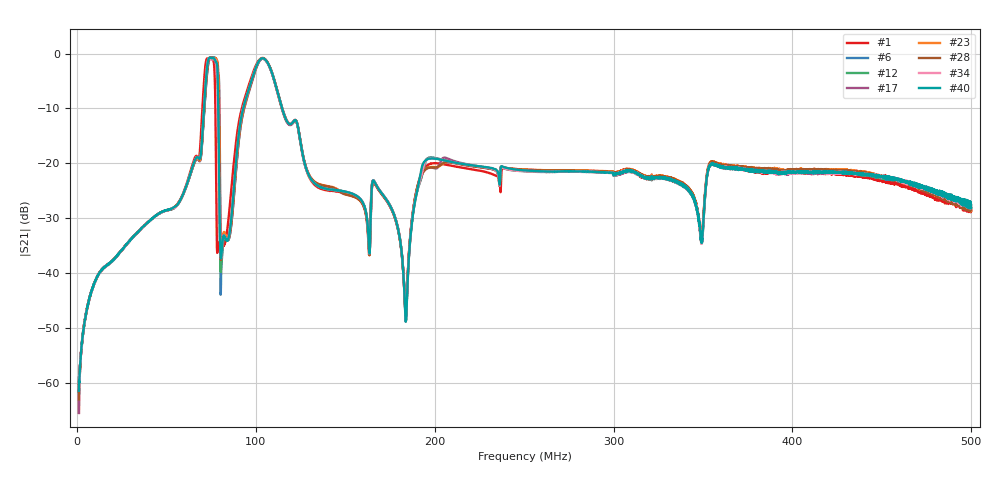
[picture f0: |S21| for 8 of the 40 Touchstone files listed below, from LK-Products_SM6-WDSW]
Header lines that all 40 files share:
! NanoVNA-App
! Start: 1MHz Stop: 500MHz Points: 6401
! S-Parameter data: F S11 S21 S12 S22
# Hz S RI R 50
!  Frequency  S11_Real  S11_Imag  S21_Real  S21_Imag  S12_Real  S12_Imag  S22_Real  S22_Imag
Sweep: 1 MHz to 500 MHz
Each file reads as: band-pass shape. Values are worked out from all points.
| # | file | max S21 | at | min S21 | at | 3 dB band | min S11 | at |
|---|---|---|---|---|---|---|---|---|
| 1 | 4MOrgTX_0.s2p | -0.87 dB | 75.3 MHz | -65.5 dB | 1 MHz | 97.99 MHz-109.2 MHz | -36.2 dB | 103.6 MHz |
| 2 | 4MOrgTX_1.s2p | -0.80 dB | 81.39 MHz | -55.5 dB | 178 MHz | 43.1 MHz-68.91 MHz | -21.8 dB | 77.25 MHz |
| 3 | 4MRX_0_0_0.s2p | -0.65 dB | 76.94 MHz | -63.2 dB | 1 MHz | 99.32 MHz-109.2 MHz | -33.1 dB | 81.7 MHz |
| 4 | 4MRX_0_6_6.s2p | -0.67 dB | 74.76 MHz | -61.7 dB | 1.078 MHz | 99.01 MHz-109.1 MHz | -57.3 dB | 77.25 MHz |
| 5 | 4MRX_1_1_1.s2p | -0.66 dB | 76.86 MHz | -62.3 dB | 1 MHz | 99.32 MHz-109.2 MHz | -32.5 dB | 79.05 MHz |
| 6 | 4MRX_1_6_6.s2p | -0.67 dB | 74.76 MHz | -62.0 dB | 1 MHz | 99.01 MHz-109.1 MHz | -42.9 dB | 77.18 MHz |
| 7 | 4MRX_2_2_2.s2p | -0.68 dB | 76.79 MHz | -60.5 dB | 1 MHz | 99.24 MHz-109.2 MHz | -30.3 dB | 79.05 MHz |
| 8 | 4MRX_2_6_6.s2p | -0.68 dB | 74.76 MHz | -62.5 dB | 1 MHz | 98.93 MHz-109.1 MHz | -34.2 dB | 77.1 MHz |
| 9 | 4MRX_3_3_3.s2p | -0.69 dB | 76.86 MHz | -60.8 dB | 1 MHz | 99.24 MHz-109.2 MHz | -25.7 dB | 78.97 MHz |
| 10 | 4MRX_3_6_6.s2p | -0.69 dB | 74.68 MHz | -63.6 dB | 1 MHz | 98.93 MHz-109.1 MHz | -28.0 dB | 77.02 MHz |
| 11 | 4MRX_4_4_4.s2p | -0.71 dB | 76.71 MHz | -60.9 dB | 1.156 MHz | 99.08 MHz-109.2 MHz | -22.2 dB | 78.89 MHz |
| 12 | 4MRX_4_6_6.s2p | -0.72 dB | 74.6 MHz | -61.7 dB | 1 MHz | 98.85 MHz-109.1 MHz | -22.9 dB | 76.94 MHz |
| 13 | 4MRX_5_5_5.s2p | -0.74 dB | 76.55 MHz | -61.2 dB | 1 MHz | 99.01 MHz-109.2 MHz | -20.8 dB | 104 MHz |
| 14 | 4MRX_5_6_6.s2p | -0.75 dB | 74.45 MHz | -59.8 dB | 1.234 MHz | 98.85 MHz-109.1 MHz | -21.5 dB | 78.34 MHz |
| 15 | 4MRX_6_0_6.s2p | -0.89 dB | 74.91 MHz | -62.7 dB | 1 MHz | 98.93 MHz-109.3 MHz | -21.6 dB | 104.1 MHz |
| 16 | 4MRX_6_1_6.s2p | -0.89 dB | 74.91 MHz | -60.8 dB | 1.078 MHz | 98.93 MHz-109.3 MHz | -21.6 dB | 104 MHz |
| 17 | 4MRX_6_2_6.s2p | -0.88 dB | 74.91 MHz | -65.5 dB | 1 MHz | 98.93 MHz-109.3 MHz | -21.6 dB | 104 MHz |
| 18 | 4MRX_6_3_6.s2p | -0.87 dB | 74.76 MHz | -60.2 dB | 1.156 MHz | 98.93 MHz-109.2 MHz | -21.5 dB | 104 MHz |
| 19 | 4MRX_6_4_6.s2p | -0.85 dB | 74.6 MHz | -62.2 dB | 1 MHz | 98.85 MHz-109.2 MHz | -21.4 dB | 104 MHz |
| 20 | 4MRX_6_5_6.s2p | -0.83 dB | 74.45 MHz | -62.2 dB | 1 MHz | 98.77 MHz-109.2 MHz | -27.8 dB | 79.59 MHz |
| 21 | 4MRX_6_6_0.s2p | -0.76 dB | 103.7 MHz | -62.0 dB | 1 MHz | 98.85 MHz-109.3 MHz | -28.3 dB | 79.59 MHz |
| 22 | 4MRX_6_6_1.s2p | -0.78 dB | 103.7 MHz | -62.1 dB | 1 MHz | 98.85 MHz-109.3 MHz | -28.3 dB | 79.59 MHz |
| 23 | 4MRX_6_6_2.s2p | -0.79 dB | 103.7 MHz | -60.9 dB | 1.156 MHz | 98.77 MHz-109.3 MHz | -28.3 dB | 79.59 MHz |
| 24 | 4MRX_6_6_3.s2p | -0.81 dB | 103.7 MHz | -60.9 dB | 1 MHz | 98.77 MHz-109.3 MHz | -28.0 dB | 79.59 MHz |
| 25 | 4MRX_6_6_4.s2p | -0.82 dB | 76.94 MHz | -62.0 dB | 1 MHz | 98.77 MHz-109.3 MHz | -27.5 dB | 79.59 MHz |
| 26 | 4MRX_6_6_5.s2p | -0.82 dB | 76.79 MHz | -59.6 dB | 1.156 MHz | 98.77 MHz-109.3 MHz | -26.8 dB | 79.59 MHz |
| 27 | 4MRX_6_6_6.s2p | -0.77 dB | 74.45 MHz | -61.3 dB | 1 MHz | 98.85 MHz-109.2 MHz | -20.9 dB | 103.9 MHz |
| 28 | 4MRX_6_6_7.s2p | -0.73 dB | 74.37 MHz | -63.1 dB | 1 MHz | 98.77 MHz-109.1 MHz | -25.5 dB | 79.59 MHz |
| 29 | 4MRX_6_6_8.s2p | -0.69 dB | 74.45 MHz | -61.8 dB | 1 MHz | 98.77 MHz-109.1 MHz | -25.1 dB | 79.59 MHz |
| 30 | 4MRX_6_6_9.s2p | -0.66 dB | 74.6 MHz | -61.9 dB | 1 MHz | 98.77 MHz-109.1 MHz | -32.3 dB | 74.21 MHz |
| 31 | 4MRX_6_6_10.s2p | -0.66 dB | 74.76 MHz | -61.6 dB | 1 MHz | 98.77 MHz-109.1 MHz | -47.8 dB | 74.68 MHz |
| 32 | 4MRX_6_6_11.s2p | -0.72 dB | 74.6 MHz | -60.3 dB | 1.156 MHz | 98.69 MHz-109.1 MHz | -24.5 dB | 79.59 MHz |
| 33 | 4MRX_6_7_6.s2p | -0.80 dB | 74.13 MHz | -62.0 dB | 1 MHz | 98.69 MHz-109.1 MHz | -33.5 dB | 78.03 MHz |
| 34 | 4MRX_6_8_6.s2p | -0.80 dB | 73.82 MHz | -61.0 dB | 1 MHz | 98.62 MHz-109.1 MHz | -24.3 dB | 73.59 MHz |
| 35 | 4MRX_6_9_6.s2p | -0.81 dB | 73.59 MHz | -60.8 dB | 1 MHz | 98.46 MHz-109.2 MHz | -31.5 dB | 73.43 MHz |
| 36 | 4MRX_6_10_6.s2p | -0.85 dB | 73.36 MHz | -61.3 dB | 1 MHz | 98.38 MHz-109.2 MHz | -39.5 dB | 73.2 MHz |
| 37 | 4MRX_6_11_6.s2p | -0.88 dB | 73.12 MHz | -63.4 dB | 1 MHz | 98.31 MHz-109.2 MHz | -26.5 dB | 73.04 MHz |
| 38 | 4MRX_6_12_6.s2p | -0.90 dB | 103.5 MHz | -62.0 dB | 1 MHz | 98.23 MHz-109.3 MHz | -22.1 dB | 72.81 MHz |
| 39 | 4MRX_7_6_6.s2p | -0.88 dB | 74.13 MHz | -61.2 dB | 1.078 MHz | 98.62 MHz-109.2 MHz | -21.5 dB | 103.8 MHz |
| 40 | 4MRX_7_7_7.s2p | -0.77 dB | 74.13 MHz | -61.5 dB | 1 MHz | 98.69 MHz-109.2 MHz | -21.0 dB | 103.8 MHz |
